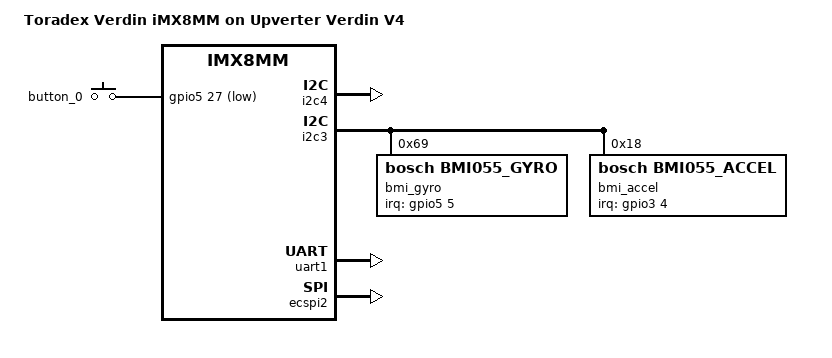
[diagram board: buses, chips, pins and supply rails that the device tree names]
/*
* Copyright (C) 2021 Upverter, Inc. - https://modular.upverter.com/
*
* This program is free software; you can redistribute it and/or modify
* it under the terms of the GNU General Public License version 2 or
* (at your option) any later version as published by the Free Software
* Foundation.
*
* This program is distributed in the hope that it will be useful,
* but WITHOUT ANY WARRANTY; without even the implied warranty of
* MERCHANTABILITY or FITNESS FOR A PARTICULAR PURPOSE.  See the
* GNU General Public License for more details.
*
*/
/dts-v1/;

#define INPUT 0x1c4
#define OUTPUT 0x184
#define PIN_INPUT INPUT
#define PIN_OUTPUT OUTPUT
#define PIN_INPUT_PULLUP 0x1c6
#define PIN_OUTPUT_PULLUP 0x186
#define INPUT_SDHC 0x1d0
#define OUTPUT_SDHC 0x190
#define IO_I2C 0x400001c6

#include "imx8mm-verdin.dtsi"
#include "imx8mm-verdin-wifi.dtsi"
#include "imx8mm-verdin-dev.dtsi"

/ {
	model = "Toradex Verdin iMX8MM on Upverter Verdin V4";
	compatible = "toradex,verdin-imx8mm-wifi-dev", "toradex,verdin-imx8mm-wifi", "fsl,imx8mm";

	ecspi@30830000 {
		/delete-node/ spidev@0;
	};

		buttons {
		pinctrl-names = "default";
		pinctrl-0 = <&buttons_default>;
		#size-cells = <0>;
		#address-cells = <1>;
		compatible = "gpio-keys";
		status = "okay";
		type = "button";
		
		button_0 {
			label = "button_0";
			#size-cells = <0>;
			#address-cells = <1>;
			linux,code = <187>;
			status = "okay";
			type = "button";
			gpios = <&gpio5 27 GPIO_ACTIVE_LOW>;
			gpio-key,wakeup;

			};
	};


};

&iomuxc {
	pinctrl-0 = <&pinctrl_sai5>, <&pinctrl_vselect>;
	pinctrl_vselect: vselectgrp {
		fsl,pins = < MX8MM_IOMUXC_GPIO1_IO04_USDHC2_VSELECT  0x1d0 >;
	};
};


// i2c_buses device

&i2c4 {
	pinctrl-names = "default";
	pinctrl-0 = <&i2c4_default>;
	status = "okay";
};
&i2c3 {
	pinctrl-names = "default";
	pinctrl-0 = <&i2c3_default>;
	status = "okay";

	bmi_gyro: bmi_gyro@69 {
		reg = <105>;
		status = "okay";
		compatible = "bosch,bmi055_gyro";

		interrupt-parent = <&gpio5>;
		interrupts =<5 0>;

		};

	bmi_accel: bmi_accel@18 {
		reg = <24>;
		status = "okay";
		compatible = "bosch,bmi055_accel";

		interrupt-parent = <&gpio3>;
		interrupts =<4 0>;

		};
};

// uart3 device

&uart1 {
	pinctrl-names = "default";
	pinctrl-0 = <&uart1_default>;
	status = "okay";
};

// spi_buses device

&ecspi2 {
	pinctrl-names = "default";
	pinctrl-0 = <&ecspi2_default>;
	cs-gpios = <&gpio5 13 1>,
<&gpio3 2 1>;
	status = "okay";
};


&uart4 {
	status = "disabled";
};



&iomuxc {
	buttons_default: buttonsgrp {
		fsl,pins = <
			MX8MM_IOMUXC_UART3_TXD_GPIO5_IO27 INPUT /* uart3_txd.gpio5_io27 */
		>;
	};
	i2c4_default: i2c4grp {
		fsl,pins = <
			MX8MM_IOMUXC_I2C4_SCL_I2C4_SCL IO_I2C /* i2c4_scl.i2c4_scl */
			MX8MM_IOMUXC_I2C4_SDA_I2C4_SDA IO_I2C /* i2c4_sda.i2c4_sda */
		>;
	};
	uart1_default: uart1grp {
		fsl,pins = <
			MX8MM_IOMUXC_SAI2_RXFS_UART1_TX OUTPUT /* sai2_rxfs.uart1_tx */
			MX8MM_IOMUXC_SAI2_RXC_UART1_RX INPUT /* sai2_rxc.uart1_rx */
		>;
	};
	ecspi2_default: ecspi2grp {
		fsl,pins = <
			MX8MM_IOMUXC_ECSPI2_SCLK_ECSPI2_SCLK OUTPUT /* ecspi2_sclk.ecspi2_sclk */
			MX8MM_IOMUXC_ECSPI2_MOSI_ECSPI2_MOSI OUTPUT /* ecspi2_mosi.ecspi2_mosi */
			MX8MM_IOMUXC_ECSPI2_MISO_ECSPI2_MISO INPUT /* ecspi2_miso.ecspi2_miso */
			MX8MM_IOMUXC_ECSPI2_SS0_ECSPI2_SS0 OUTPUT /* ecspi2_ss0.ecspi2_ss0 */
			MX8MM_IOMUXC_NAND_CE1_B_GPIO3_IO2 PIN_OUTPUT /* nand_ce1_b.gpio3_io2 */
		>;
	};
	i2c3_default: i2c3grp {
		fsl,pins = <
			MX8MM_IOMUXC_I2C3_SCL_I2C3_SCL IO_I2C /* i2c3_scl.i2c3_scl */
			MX8MM_IOMUXC_SPDIF_EXT_CLK_GPIO5_IO5 INPUT /* spdif_ext_clk.gpio5_io5 */
			MX8MM_IOMUXC_I2C3_SDA_I2C3_SDA IO_I2C /* i2c3_sda.i2c3_sda */
			MX8MM_IOMUXC_NAND_CE3_B_GPIO3_IO4 INPUT /* nand_ce3_b.gpio3_io4 */
		>;
	};
};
